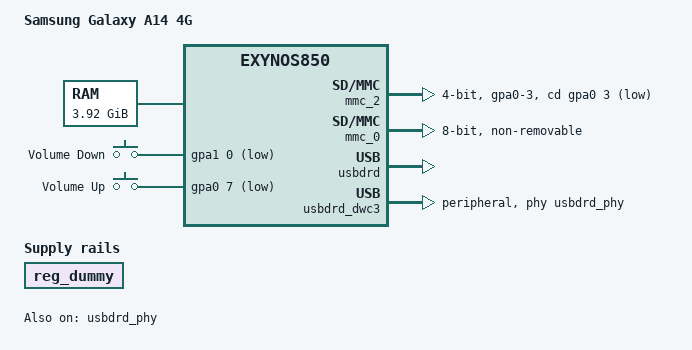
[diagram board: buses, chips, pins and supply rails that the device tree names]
// SPDX-License-Identifier: GPL-2.0 OR BSD-3-Clause
/*
 * Samsung Galaxy A14 4G (SM-A145F, S5E3830 / Exynos850) device tree source
 *
 * Derived from exynos850-a135f.dts. Memory map, SD slot, USB and key GPIOs
 * come from the live DTB dumped from a running stock A145F.
 */

/dts-v1/;
#include "exynos850.dtsi"
#include <dt-bindings/gpio/gpio.h>
#include <dt-bindings/input/input.h>
#include <dt-bindings/interrupt-controller/irq.h>

/ {
	model = "Samsung Galaxy A14 4G";
	compatible = "samsung,a145f", "samsung,exynos850";

	#address-cells = <2>;
	#size-cells = <2>;

	aliases {
		mmc0 = &mmc_0;
		mmc1 = &mmc_2;
	};

	chosen {
		#address-cells = <2>;
		#size-cells = <2>;
		ranges;

		bootargs = "clk_ignore_unused pd_ignore_unused regulator_ignore_unused";

		framebuffer@fa000000 {
			compatible = "simple-framebuffer", "framebuffer-serial";
			reg = <0 0xfa000000 0 (1080 * 2408 * 4)>;
			width = <1080>;
			height = <2408>;
			stride = <(1080 * 4)>;
			format = "a8r8g8b8";
			clocks = <&cmu_dpu CLK_GOUT_DPU_DECON0_ACLK>,
				 <&cmu_dpu CLK_GOUT_DPU_DMA_ACLK>,
				 <&cmu_dpu CLK_GOUT_DPU_DPP_ACLK>,
				 <&cmu_dpu CLK_GOUT_DPU_PPMU_ACLK>,
				 <&cmu_dpu CLK_GOUT_DPU_PPMU_PCLK>,
				 <&cmu_dpu CLK_GOUT_DPU_SMMU_CLK>;
		};
	};

	/* 4 GiB, as handed over by the stock bootloader (live DTB). */
	memory@80000000 {
		device_type = "memory";
		reg = <0x0 0x80000000 0x0 0x3ba00000>,
		      <0x0 0xc0000000 0x0 0x20000000>,
		      <0x0 0xe0d00000 0x0 0x1f300000>,
		      <0x8 0x80000000 0x0 0x80000000>;
	};

	reserved-memory {
		#address-cells = <2>;
		#size-cells = <2>;
		ranges;

		ramoops@f0f10000 {
			compatible = "ramoops";
			reg = <0 0xf0f10000 0 0x8000>;
			record-size = <0x2000>;
			console-size = <0x4000>;
			ftrace-size = <0>;
			pmsg-size = <0x2000>;
		};

		cont_splash_mem: framebuffer@fa000000 {
			reg = <0 0xfa000000 0 (1080 * 2408 * 4)>;
			no-map;
		};
	};

	rtcclk: clock-rtcclk {
		compatible = "fixed-clock";
		clock-output-names = "rtcclk";
		#clock-cells = <0>;
		clock-frequency = <32768>;
	};

	/* TODO: replace once the S2MPU12 / S2MU106 PMICs are described */
	reg_dummy: regulator-0 {
		compatible = "regulator-fixed";
		regulator-name = "dummy_reg";
	};

	gpio-keys {
		compatible = "gpio-keys";

		pinctrl-0 = <&key_voldown &key_volup>;
		pinctrl-names = "default";

		voldown-key {
			label = "Volume Down";
			linux,code = <KEY_VOLUMEDOWN>;
			gpios = <&gpa1 0 GPIO_ACTIVE_LOW>;
			wakeup-source;
		};

		volup-key {
			label = "Volume Up";
			linux,code = <KEY_VOLUMEUP>;
			gpios = <&gpa0 7 GPIO_ACTIVE_LOW>;
		};
	};

};

&soc {
	/* microSD slot (dedicated), dwmmc2 in the stock DTB */
	mmc_2: mmc@13500000 {
		compatible = "samsung,exynos7-dw-mshc";
		reg = <0x13500000 0x2000>;
		/* not used by U-Boot; verify against the TRM before Linux use */
		interrupts = <GIC_SPI 454 IRQ_TYPE_LEVEL_HIGH>;
		#address-cells = <1>;
		#size-cells = <0>;
		clocks = <&cmu_core CLK_GOUT_MMC_CARD_ACLK>,
			 <&cmu_core CLK_GOUT_MMC_CARD_SDCLKIN>;
		clock-names = "biu", "ciu";
		fifo-depth = <0x40>;
		clock-frequency = <800000000>;
		samsung,dw-mshc-ciu-div = <3>;
		samsung,dw-mshc-sdr-timing = <3 2>;
		samsung,dw-mshc-ddr-timing = <3 2>;
		bus-width = <4>;
		cap-sd-highspeed;
		sd-uhs-sdr50;
		sd-uhs-sdr104;
		/* card-detect: gpa0-3, active low (inverted) */
		cd-gpios = <&gpa0 3 GPIO_ACTIVE_LOW>;
		pinctrl-names = "default";
		pinctrl-0 = <&sd2_clk_pins &sd2_cmd_pins &sd2_bus1_pins
			     &sd2_bus4_pins &dwmmc2_cd_pins>;
		status = "okay";
	};
};

&oscclk {
	clock-frequency = <26000000>;
};

&timer {
	clock-frequency = <26000000>;
};

&rtc {
	status = "disabled";
	clocks = <&cmu_apm CLK_GOUT_RTC_PCLK>, <&rtcclk>;
	clock-names = "rtc", "rtc_src";
};

&pinctrl_alive {
	key_voldown: key-voldown-pins {
		samsung,pins = "gpa1-0";
		samsung,pin-function = <EXYNOS_PIN_FUNC_EINT>;
		samsung,pin-pud = <EXYNOS_PIN_PULL_NONE>;
		samsung,pin-drv = <EXYNOS5420_PIN_DRV_LV1>;
	};

	key_volup: key-volup-pins {
		samsung,pins = "gpa0-7";
		samsung,pin-function = <EXYNOS_PIN_FUNC_EINT>;
		samsung,pin-pud = <EXYNOS_PIN_PULL_NONE>;
		samsung,pin-drv = <EXYNOS5420_PIN_DRV_LV1>;
	};

	dwmmc2_cd_pins: dwmmc2-cd-pins {
		samsung,pins = "gpa0-3";
		samsung,pin-function = <EXYNOS_PIN_FUNC_EINT>;
		samsung,pin-pud = <EXYNOS_PIN_PULL_NONE>;
		samsung,pin-drv = <EXYNOS5420_PIN_DRV_LV1>;
	};
};

&cmu_hsi {
	clocks = <&oscclk>, <&rtcclk>,
		 <&cmu_top CLK_DOUT_HSI_BUS>,
		 <&cmu_top CLK_DOUT_HSI_MMC_CARD>,
		 <&cmu_top CLK_DOUT_HSI_USB20DRD>;
	clock-names = "oscclk", "rtcclk", "dout_hsi_bus",
		      "dout_hsi_mmc_card", "dout_hsi_usb20drd";
};

&mmc_0 {
	status = "okay";
	compatible = "samsung,exynos7-dw-mshc";
	mmc-ddr-1_8v;
	mmc-hs200-1_8v;
	mmc-hs400-1_8v;
	cap-mmc-highspeed;
	non-removable;
	mmc-hs400-enhanced-strobe;
	card-detect-delay = <200>;
	clock-frequency = <800000000>;
	bus-width = <8>;
	samsung,dw-mshc-ciu-div = <3>;
	samsung,dw-mshc-sdr-timing = <0 4>;
	samsung,dw-mshc-ddr-timing = <2 4>;
	samsung,dw-mshc-hs400-timing = <0 2>;

	pinctrl-names = "default";
	pinctrl-0 = <&sd0_clk_pins &sd0_cmd_pins &sd0_rdqs_pins &sd0_nreset_pins
		     &sd0_bus1_pins &sd0_bus4_pins &sd0_bus8_pins>;
};

/*
 * USB: peripheral / high-speed only. VBUS and the S2MU106 charger/OTG chip
 * are left to the stock bootloader's state (see the EDK2 ExynosUsbHostDxe
 * notes for the register sequence needed for host mode).
 */
&usbdrd {
	status = "okay";
	/delete-property/ extcon;
	/delete-property/ pinctrl-names;
	/delete-property/ pinctrl-0;
	vdd10-supply = <&reg_dummy>;
	vdd33-supply = <&reg_dummy>;
};

&usbdrd_dwc3 {
	status = "okay";
	dr_mode = "peripheral";
	maximum-speed = "high-speed";
	/delete-property/ extcon;
	phys = <&usbdrd_phy 0>;
	phy-names = "usb2-phy";
};

&usbdrd_phy {
	status = "okay";
	/delete-property/ extcon;
	/delete-property/ pinctrl-names;
	/delete-property/ pinctrl-0;
	vdd-supply = <&reg_dummy>;
	vbus-supply = <&reg_dummy>;
};
